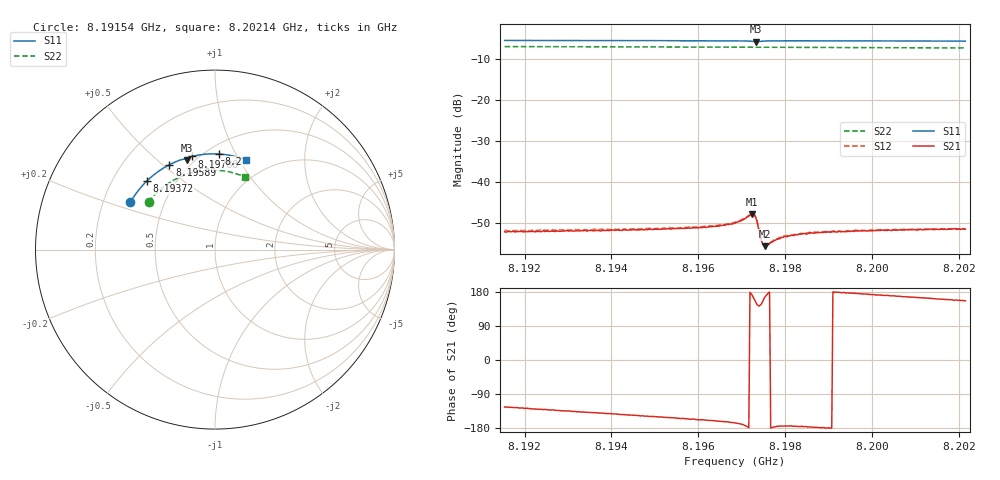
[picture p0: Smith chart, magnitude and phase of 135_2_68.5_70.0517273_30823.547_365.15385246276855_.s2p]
#  HZ  S  RI  R  50.00
! Rohde & Schwarz Vector Network Analyzer
! Rohde-Schwarz,ZNB20-2Port,1311601062101988,3.16
! Created: UTC 3/20/2024, 5:09:47 PM
! freq[Hz]  re:S11  im:S11  re:S21  im:S21  re:S12  im:S12  re:S22  im:S22
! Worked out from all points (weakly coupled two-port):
!   401 points, 8.19154 GHz to 8.20214 GHz, reference 50 ohm
!   highest |S21| = -47.92 dB at 8.19724 GHz (marker M1); lowest = -55.7 dB at 8.19753 GHz (marker M2)
!   lowest |S11| = -5.7 dB at 8.19732 GHz (marker M3), VSWR 3.18, Z = 23 + j31.3 ohm
!   |S11| at or under -10 dB: nowhere
!   |S22| runs from -7.2 to -6.8 dB; largest |S21 - S12| = 0.0002
!   S11 on the Smith chart (normalised r, x): 8.19154 GHz: 0.32, +0.24; 8.19372 GHz: 0.35, +0.37; 8.19589 GHz: 0.40, +0.53; 8.19788 GHz: 0.46, +0.67; 8.2 GHz: 0.58, +0.86; 8.20214 GHz: 0.77, +1.07
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8.191542e9  -0.4719 0.2628  -0.00137 -0.00203  -0.0015 -0.00206  -0.3692 0.2651
8.193318e9  -0.398 0.3635  -0.00187 -0.00173  -0.00196 -0.00172  -0.3016 0.337
8.193715e9  -0.3785 0.3834  -0.00196 -0.00164  -0.00206 -0.00163  -0.2843 0.3509
8.195094e9  -0.3028 0.4444  -0.00232 -0.00131  -0.00238 -0.00127  -0.2195 0.3925
8.195889e9  -0.2543 0.473  -0.00249 -0.00111  -0.00263 -0.00104  -0.1788 0.4112
8.196578e9  -0.2092 0.4936  -0.00283 -0.000895  -0.0029 -0.000775  -0.1422 0.424
8.196843e9  -0.1906 0.5003  -0.00304 -0.000751  -0.00315 -0.00064  -0.1278 0.4281
8.197241e9  -0.1584 0.5016  -0.00396 0.000656  -0.00402 0.00085  -0.1059 0.4332
8.197294e9  -0.1568 0.4984  -0.00365 0.00139  -0.00365 0.00156  -0.103 0.4338
8.19732e9  -0.1573 0.497  -0.00325 0.00167  -0.00324 0.00185  -0.1017 0.4339
8.197347e9  -0.1583 0.4968  -0.0028 0.00181  -0.00278 0.00197  -0.1003 0.4343
8.197453e9  -0.1585 0.5038  -0.00163 0.001  -0.0016 0.00104  -0.0946 0.4355
8.197479e9  -0.1571 0.5058  -0.00155 0.000757  -0.00156 0.000856  -0.0931 0.436
8.197532e9  -0.1536 0.509  -0.00159 0.000385  -0.00161 0.000471  -0.0902 0.4363
8.197585e9  -0.1495 0.5115  -0.00165 0.000189  -0.00169 0.000257  -0.0872 0.4369
8.197744e9  -0.1374 0.5163  -0.00191 -0.000114  -0.00198 -1.72e-05  -0.0783 0.4384
8.197877e9  -0.1277 0.5192  -0.00201 -0.000204  -0.00209 -0.000104  -0.0709 0.4395
8.198116e9  -0.1105 0.5234  -0.00219 -0.000244  -0.00223 -0.000134  -0.0574 0.441
8.198619e9  -0.0745 0.5294  -0.00237 -0.000113  -0.00243 -2.59e-05  -0.0288 0.4428
8.199998e9  0.0235 0.5326  -0.0025 0.000321  -0.00255 0.000457  0.0494 0.4384
8.200395e9  0.0513 0.5301  -0.00252 0.000466  -0.00252 0.000578  0.0715 0.4346
8.202145e9  0.1715 0.5019  -0.00241 0.00106  -0.0024 0.00122  0.1666 0.4041
